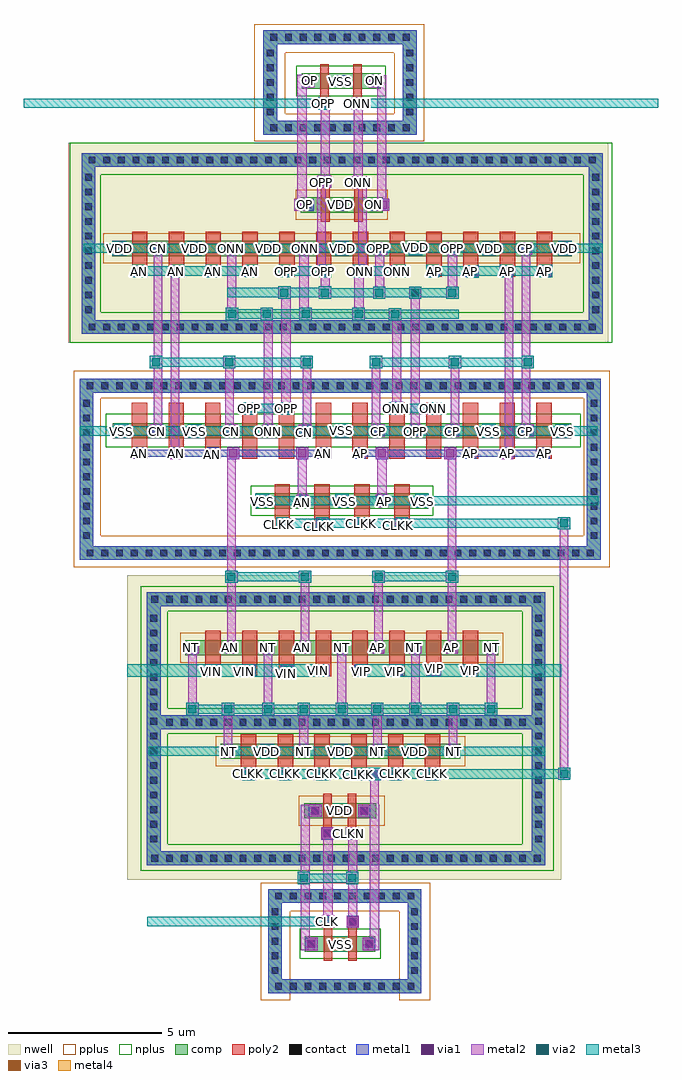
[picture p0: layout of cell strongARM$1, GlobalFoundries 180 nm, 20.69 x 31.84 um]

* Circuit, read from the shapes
.subckt strongARM$1 AN AP CLK CLKK CLKN CN CP NT ON ONN OP OPP VDD VIN VIP VSS
XM1 CN AN VSS VSUBS nfet_03v3 w=0.5u l=0.5u m=4
XM2 ONN OPP CN VSUBS nfet_03v3 w=0.5u l=0.5u m=2
XM3 AN CLKK VSS VSUBS nfet_03v3 w=0.5u l=0.5u m=2
XM4 VSS OPP OP VSUBS nfet_03v3 w=0.5u l=0.28u
XM5 VSS CLK CLKN VSUBS nfet_03v3 w=0.5u l=0.28u
XM6 CLKK CLKN VSS VSUBS nfet_03v3 w=0.5u l=0.28u
XM7 CP AP VSS VSUBS nfet_03v3 w=0.5u l=0.5u m=4
XM8 ON ONN VSS VSUBS nfet_03v3 w=0.5u l=0.28u
XM9 AP CLKK VSS VSUBS nfet_03v3 w=0.5u l=0.5u m=2
XM10 OPP ONN CP VSUBS nfet_03v3 w=0.5u l=0.5u m=2
XM11 CN AN VDD n1 pfet_03v3 w=0.5u l=0.5u m=2
XM12 AN VIN NT n2 pfet_03v3 w=0.5u l=0.5u m=4
XM13 ONN AN VDD n1 pfet_03v3 w=0.5u l=0.5u m=2
XM14 VDD CLKK NT n2 pfet_03v3 w=0.5u l=0.5u m=6
XM15 ONN OPP VDD n1 pfet_03v3 w=0.5u l=0.5u m=2
XM16 VDD OPP OP n1 pfet_03v3 w=0.5u l=0.28u
XM17 VDD CLK CLKN n2 pfet_03v3 w=0.5u l=0.28u
XM18 CLKK CLKN VDD n2 pfet_03v3 w=0.5u l=0.28u
XM19 AP VIP NT n2 pfet_03v3 w=0.5u l=0.5u m=4
XM20 OPP ONN VDD n1 pfet_03v3 w=0.5u l=0.5u m=2
XM21 ON ONN VDD n1 pfet_03v3 w=0.5u l=0.28u
XM22 OPP AP VDD n1 pfet_03v3 w=0.5u l=0.5u m=2
XM23 CP AP VDD n1 pfet_03v3 w=0.5u l=0.5u m=2
.ends

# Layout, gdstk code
from math import pi, radians
import gdstk
lib = gdstk.Library(unit=1e-6, precision=1e-09)
def R(c, l, rs):  # rectangles x0, y0, x1, y1
    for r in rs: c.add(gdstk.rectangle(r[:2], r[2:], *l))
def A(c, l, x, y, w, h, nx, ny, dx, dy):  # array of equal rectangles
    R(c, l, [(x+i*dx, y+j*dy, x+i*dx+w, y+j*dy+h) for i in range(nx) for j in range(ny)])
def P(c, l, *ps):  # polygons
    for p in ps: c.add(gdstk.Polygon(p, *l))
nwell = (21, 0)
comp = (22, 0)
poly2 = (30, 0)
pplus = (31, 0)
nplus = (32, 0)
contact = (33, 0)
metal1 = (34, 0)
via1 = (35, 0)
metal2 = (36, 0)
via2 = (38, 0)
via3 = (40, 0)
metal3 = (42, 0)
metal4 = (46, 0)

via_dev_8_1_1 = lib.new_cell('via_dev$8$1$1')
R(via_dev_8_1_1, metal1, [(0,0,0.45,0.4)])
R(via_dev_8_1_1, via1, [(0.095,0.07,0.355,0.33)])
R(via_dev_8_1_1, metal2, [(0,0,0.45,0.4)])
R(via_dev_8_1_1, via2, [(0.095,0.07,0.355,0.33)])
R(via_dev_8_1_1, via3, [(0.095,0.07,0.355,0.33)])
R(via_dev_8_1_1, metal3, [(0,0,0.45,0.4)])
R(via_dev_8_1_1, metal4, [(0,0,0.45,0.4)])

via_dev_7_1_1 = lib.new_cell('via_dev$7$1$1')
R(via_dev_7_1_1, comp, [(0,0,5,0.45)])
A(via_dev_7_1_1, contact, 0.23, 0.115, 0.22, 0.22, 10, 1, 0.48, 0)
R(via_dev_7_1_1, metal1, [(0,0,5,0.45)])

pfet_1_3 = lib.new_cell('pfet$1$3')
R(pfet_1_3, nwell, [(-1.07,-0.74,2.81,1.62)])
R(pfet_1_3, comp, [(-0.46,0,2.2,0.5)])
P(pfet_1_3, poly2, [(0.19,-0.3),(0.19,0.8),(0.14,0.8),(0.14,1.18),(0.52,1.18),(0.52,0.8),(0.47,0.8),(0.47,-0.3)],
  [(1.27,-0.3),(1.27,0.8),(1.22,0.8),(1.22,1.18),(1.6,1.18),(1.6,0.8),(1.55,0.8),(1.55,-0.3)])
R(pfet_1_3, pplus, [(-0.63,-0.24,2.37,0.74)])
A(pfet_1_3, contact, -0.34, 0.14, 0.22, 0.22, 3, 1, 1.1, 0)
R(pfet_1_3, contact, [(0.22,0.88,0.44,1.1), (1.3,0.88,1.52,1.1)])
A(pfet_1_3, metal1, -0.42, 0.06, 0.38, 0.38, 3, 1, 1.1, 0)
R(pfet_1_3, metal1, [(0.14,0.8,0.52,1.18), (1.22,0.8,1.6,1.18)])

via_dev_25 = lib.new_cell('via_dev$25')
R(via_dev_25, metal1, [(0,0,0.4,0.4)])
R(via_dev_25, via1, [(0.07,0.07,0.33,0.33)])
R(via_dev_25, metal2, [(0,0,0.4,0.4)])

via_dev_15_1_1 = lib.new_cell('via_dev$15$1$1')
R(via_dev_15_1_1, metal2, [(0,0,0.4,0.4)])
R(via_dev_15_1_1, via2, [(0.07,0.07,0.33,0.33)])
R(via_dev_15_1_1, metal3, [(0,0,0.4,0.4)])

via_dev_22_1 = lib.new_cell('via_dev$22$1')
R(via_dev_22_1, metal1, [(0,0,0.45,0.45)])
R(via_dev_22_1, via1, [(0.095,0.095,0.355,0.355)])
R(via_dev_22_1, metal2, [(0,0,0.45,0.45)])
R(via_dev_22_1, via2, [(0.095,0.095,0.355,0.355)])
R(via_dev_22_1, metal3, [(0,0,0.45,0.45)])

via_dev_2_1_1 = lib.new_cell('via_dev$2$1$1')
R(via_dev_2_1_1, comp, [(0,0,17,0.45)])
A(via_dev_2_1_1, contact, 0.23, 0.115, 0.22, 0.22, 35, 1, 0.48, 0)
R(via_dev_2_1_1, metal1, [(0,0,17,0.45)])

via_dev_20_1 = lib.new_cell('via_dev$20$1')
R(via_dev_20_1, comp, [(0,0,12.1,0.45)])
A(via_dev_20_1, contact, 0.18, 0.115, 0.22, 0.22, 25, 1, 0.48, 0)
R(via_dev_20_1, metal1, [(0,0,12.1,0.45)])

via_dev_6_1_1 = lib.new_cell('via_dev$6$1$1')
R(via_dev_6_1_1, comp, [(0,0,0.45,5)])
A(via_dev_6_1_1, contact, 0.115, 0.23, 0.22, 0.22, 1, 10, 0, 0.48)
R(via_dev_6_1_1, metal1, [(0,0,0.45,5)])

via_dev_3_1_1 = lib.new_cell('via_dev$3$1$1')
R(via_dev_3_1_1, comp, [(0,0,13,0.45)])
A(via_dev_3_1_1, contact, 0.15, 0.115, 0.22, 0.22, 27, 1, 0.48, 0)
R(via_dev_3_1_1, metal1, [(0,0,13,0.45)])

nfet_1_2 = lib.new_cell('nfet$1$2')
R(nfet_1_2, comp, [(-0.42,0,5.2,0.5)])
A(nfet_1_2, poly2, 0.19, -0.3, 0.5, 1.46, 4, 1, 1.3, 0)
R(nfet_1_2, nplus, [(-0.59,-0.24,5.37,0.74)])
A(nfet_1_2, contact, -0.32, 0.14, 0.22, 0.22, 5, 1, 1.3, 0)
A(nfet_1_2, contact, 0.33, 0.87, 0.22, 0.22, 4, 1, 1.3, 0)
A(nfet_1_2, metal1, -0.4, 0.06, 0.38, 0.38, 5, 1, 1.3, 0)
A(nfet_1_2, metal1, 0.25, 0.79, 0.38, 0.38, 4, 1, 1.3, 0)

via_dev_14_1 = lib.new_cell('via_dev$14$1')
R(via_dev_14_1, metal1, [(0,0,0.4,0.4)])
R(via_dev_14_1, via1, [(0.07,0.07,0.33,0.33)])
R(via_dev_14_1, metal2, [(0,0,0.4,0.4)])
R(via_dev_14_1, via2, [(0.07,0.07,0.33,0.33)])
R(via_dev_14_1, metal3, [(0,0,0.4,0.4)])

via_dev_16_1_1 = lib.new_cell('via_dev$16$1$1')
R(via_dev_16_1_1, metal1, [(0,0,0.4,0.4)])

via_dev_4_1 = lib.new_cell('via_dev$4$1')
R(via_dev_4_1, comp, [(0,0,0.45,2.5)])
A(via_dev_4_1, contact, 0.115, 0.18, 0.22, 0.22, 1, 5, 0, 0.48)
R(via_dev_4_1, metal1, [(0,0,0.45,2.5)])

via_dev_5_1_1 = lib.new_cell('via_dev$5$1$1')
R(via_dev_5_1_1, comp, [(0,0,0.45,8)])
A(via_dev_5_1_1, contact, 0.115, 0.29, 0.22, 0.22, 1, 16, 0, 0.48)
R(via_dev_5_1_1, metal1, [(0,0,0.45,8)])

strongarm_1 = lib.new_cell('strongARM$1')
R(strongarm_1, nwell, [(-4.36,3.98,9.8,13.91), (-6.29,21.5,11.34,28.02)])
R(strongarm_1, comp, [(1.44,1.64,1.86,2.14), (1.86,1.64,3.32,2.14), (3.32,1.64,3.74,2.14), (1.42,5.985,3.77,6.485), (-1.3,7.925,-0.84,8.425), (-0.84,7.925,6.04,8.425), (6.04,7.925,6.5,8.425), (-2.46,11.3,-2,11.8), (-2,11.3,7.28,11.8), (7.28,11.3,7.74,11.8), (-4.83,18.38,10.13,18.88), (-4.85,24.33,-4.39,24.83), (-4.39,24.33,9.69,24.83), (9.69,24.33,10.15,24.83), (1.33,29.79,1.75,30.29), (1.75,29.79,3.49,30.29), (3.49,29.79,3.91,30.29)])
A(strongarm_1, poly2, -0.65, 7.245, 0.5, 0.38, 6, 1, 1.2, 0)
A(strongarm_1, poly2, -0.65, 7.625, 0.5, 1.1, 6, 1, 1.2, 0)
A(strongarm_1, poly2, -1.81, 10.62, 0.5, 0.38, 8, 1, 1.2, 0)
A(strongarm_1, poly2, -1.81, 11, 0.5, 1.1, 8, 1, 1.2, 0)
A(strongarm_1, poly2, -4.21, 17.72, 0.5, 0.36, 8, 1, 1.2, 0)
A(strongarm_1, poly2, 6.59, 17.72, 0.5, 0.36, 3, 1, 1.2, 0)
A(strongarm_1, poly2, -4.21, 18.08, 0.5, 1.1, 12, 1, 1.2, 0)
A(strongarm_1, poly2, -0.61, 19.18, 0.5, 0.36, 9, 1, 1.2, 0)
A(strongarm_1, poly2, -4.2, 23.65, 0.5, 0.38, 12, 1, 1.2, 0)
A(strongarm_1, poly2, -4.2, 24.03, 0.5, 1.1, 12, 1, 1.2, 0)
R(strongarm_1, poly2, [(2.05,1.34,2.33,2.44), (2.85,1.34,3.13,2.44), (2.01,2.44,2.37,2.8), (2.81,2.44,3.17,2.8), (1.98,5.305,2.36,5.685), (2.78,5.305,3.16,5.685), (2.03,5.685,2.31,6.785), (2.83,5.685,3.11,6.785), (5.39,17.71,5.89,18.08), (-4.21,19.18,-3.71,19.54), (-3.01,19.18,-2.51,19.54), (-1.81,19.18,-1.32,19.54), (1.9,29.13,2.26,29.49), (2.98,29.13,3.34,29.49), (1.94,29.49,2.22,30.59), (3.02,29.49,3.3,30.59)])
R(strongarm_1, pplus, [(-0.01,0.06,0.96,3.89), (4.52,0.06,5.53,3.89), (-0.01,2.95,5.53,3.88), (1.23,5.745,4.04,6.725), (-1.47,7.685,6.67,8.665), (-2.63,11.06,7.91,12.04), (-6.1,14.17,11.39,15.2), (-6.1,14.17,-5.22,20.55), (10.53,14.17,11.39,20.59), (-6.1,19.69,11.39,20.59), (-5.14,24.09,10.42,25.08), (-0.21,28.07,0.8,31.9), (-0.21,28.07,5.33,28.97), (4.36,28.07,5.33,31.9), (-0.21,30.97,5.33,31.9)])
R(strongarm_1, nplus, [(1.27,1.4,3.91,2.38), (-3.91,4.27,9.55,5.14), (-3.91,4.27,-3.04,13.51), (8.53,4.27,9.55,13.51), (-3.91,8.74,9.55,9.58), (-3.91,12.75,9.55,13.56), (-5.06,18.09,10.44,19.18), (-6.23,21.5,-5.23,28.02), (-6.16,21.5,11.47,22.5), (10.51,21.5,11.47,28.02), (-6.16,26.99,11.47,28.02), (1.16,29.55,4.08,30.53)])
A(strongarm_1, contact, 1.54, 1.78, 0.22, 0.22, 3, 1, 0.94, 0)
A(strongarm_1, contact, 1.66, 6.125, 0.22, 0.22, 3, 1, 0.8, 0)
A(strongarm_1, contact, -0.51, 7.325, 0.22, 0.22, 6, 1, 1.2, 0)
A(strongarm_1, contact, 0.09, 8.065, 0.22, 0.22, 5, 1, 1.2, 0)
A(strongarm_1, contact, -1.67, 10.7, 0.22, 0.22, 8, 1, 1.2, 0)
A(strongarm_1, contact, -1.07, 11.44, 0.22, 0.22, 7, 1, 1.2, 0)
A(strongarm_1, contact, -4.07, 17.79, 0.22, 0.22, 3, 1, 1.2, 0)
A(strongarm_1, contact, 6.73, 17.79, 0.22, 0.22, 3, 1, 1.2, 0)
A(strongarm_1, contact, -4.67, 18.52, 0.22, 0.22, 13, 1, 1.2, 0)
A(strongarm_1, contact, -4.06, 23.73, 0.22, 0.22, 12, 1, 1.2, 0)
A(strongarm_1, contact, -3.46, 24.47, 0.22, 0.22, 11, 1, 1.2, 0)
A(strongarm_1, contact, 1.43, 29.93, 0.22, 0.22, 3, 1, 1.08, 0)
R(strongarm_1, contact, [(2.08,2.51,2.3,2.73), (2.88,2.51,3.1,2.73), (2.06,5.385,2.28,5.605), (2.86,5.385,3.08,5.605), (-1.18,8.065,-0.96,8.285), (6.16,8.065,6.38,8.285), (-2.34,11.44,-2.12,11.66), (7.4,11.44,7.62,11.66), (1.93,17.79,2.15,18.01), (3.13,17.79,3.35,18.01), (-0.47,19.25,-0.25,19.47), (0.73,19.25,0.95,19.47), (4.33,19.25,4.55,19.47), (5.53,19.25,5.75,19.47), (-4.73,24.47,-4.51,24.69), (9.81,24.47,10.03,24.69), (1.97,29.2,2.19,29.42), (3.05,29.2,3.27,29.42)])
A(strongarm_1, metal1, 0.61, 7.245, 0.38, 0.38, 5, 1, 1.2, 0)
A(strongarm_1, metal1, 0, 7.975, 0.4, 0.4, 3, 1, 2.4, 0)
A(strongarm_1, metal1, -1.75, 10.62, 0.38, 0.38, 8, 1, 1.2, 0)
A(strongarm_1, metal1, -1.15, 11.36, 0.38, 0.38, 7, 1, 1.2, 0)
A(strongarm_1, metal1, -4.15, 17.71, 0.38, 0.38, 3, 1, 1.2, 0)
A(strongarm_1, metal1, 6.65, 17.71, 0.38, 0.38, 3, 1, 1.2, 0)
A(strongarm_1, metal1, -4.76, 18.43, 0.4, 0.4, 3, 1, 7.2, 0)
A(strongarm_1, metal1, -1.15, 18.44, 0.38, 0.38, 3, 1, 1.2, 0)
A(strongarm_1, metal1, 3.65, 18.44, 0.38, 0.38, 3, 1, 1.2, 0)
A(strongarm_1, metal1, -4.14, 23.65, 0.38, 0.38, 11, 1, 1.2, 0)
A(strongarm_1, metal1, -2.35, 24.38, 0.4, 0.4, 3, 1, 2.4, 0)
A(strongarm_1, metal1, -3.54, 24.39, 0.38, 0.38, 4, 1, 2.4, 0)
A(strongarm_1, metal1, 1.35, 29.85, 0.38, 0.38, 3, 1, 1.08, 0)
R(strongarm_1, metal1, [(3.33,1.69,3.73,2.09), (1.46,1.7,1.84,2.08), (2.8,2.41,3.2,2.81), (1.99,2.42,2.39,2.82), (2,2.43,2.38,2.81), (2.8,2.43,3.18,2.81), (1.97,5.295,2.37,5.695), (1.57,6.035,1.97,6.435), (3.18,6.045,3.56,6.425), (3.01,7.23,3.91,7.63), (-1.26,7.985,-0.88,8.365), (1.21,7.985,1.59,8.365), (3.61,7.985,3.99,8.365), (6.08,7.985,6.46,8.365), (-2.42,11.36,-2.04,11.74), (7.32,11.36,7.7,11.74), (1.85,17.71,2.23,18.09), (3.05,17.71,3.43,18.09), (-3.55,18.44,-3.17,18.82), (8.45,18.44,8.83,18.82), (-0.55,19.17,-0.17,19.55), (0.65,19.17,1.03,19.55), (5.45,19.17,5.83,19.55), (9.12,23.65,9.5,24.03), (-4.82,24.38,-4.42,24.78), (6.05,24.38,6.45,24.78), (7.25,24.38,7.65,24.78), (4.86,24.39,5.24,24.77), (8.46,24.39,8.84,24.77), (1.88,29.11,2.28,29.51), (1.89,29.12,2.27,29.5), (2.97,29.12,3.35,29.5), (3.5,29.84,3.9,30.24)])
P(strongarm_1, metal1, [(0.73,29.3),(0.73,29.3),(0.73,29.3),(0.73,29.3)])
A(strongarm_1, via1, -1.09, 11.42, 0.26, 0.26, 4, 1, 2.4, 0)
R(strongarm_1, via1, [(2.87,2.48,3.13,2.74), (2.06,2.49,2.32,2.75), (1.95,29.18,2.21,29.44), (3.57,29.91,3.83,30.17)])
A(strongarm_1, metal2, -1.15, 11.36, 0.38, 0.38, 4, 1, 2.4, 0)
R(strongarm_1, metal2, [(2.8,2.41,3.2,2.81), (1.99,2.42,2.39,2.82), (3,7.23,3.91,7.63), (1.88,29.11,2.28,29.51), (3.5,29.84,3.9,30.24)])
R(strongarm_1, via2, [(1.95,29.18,2.21,29.44)])
R(strongarm_1, metal3, [(3,7.23,3.91,7.63), (1.88,29.11,2.28,29.51)])
strongarm_1.add(gdstk.FlexPath([(9.43,17.9),(3.05,17.9)], 0.23, ends="flush", simple_path=True, layer=34, datatype=0))  # metal1
strongarm_1.add(gdstk.FlexPath([(-4.15,17.9),(2.23,17.9)], 0.23, ends="flush", simple_path=True, layer=34, datatype=0))  # metal1
strongarm_1.add(gdstk.FlexPath([(2.19,10.81),(-4.36,10.81)], 0.4, ends="flush", simple_path=True, layer=42, datatype=0))  # metal3
strongarm_1.add(gdstk.FlexPath([(3.09,10.81),(9.8,10.81)], 0.4, ends="flush", simple_path=True, layer=42, datatype=0))  # metal3
strongarm_1.add(gdstk.FlexPath([(3.16,4.03),(1.2,4.03)], 0.3, ends="flush", simple_path=True, layer=42, datatype=0))  # metal3
strongarm_1.add(gdstk.FlexPath([(3.64,20.87),(8.84,20.87)], 0.3, ends="flush", simple_path=True, layer=42, datatype=0))  # metal3
strongarm_1.add(gdstk.FlexPath([(1.64,20.87),(-3.56,20.87)], 0.3, ends="flush", simple_path=True, layer=42, datatype=0))  # metal3
strongarm_1.add(gdstk.FlexPath([(5.89,19.36),(4.18,19.36)], 0.3, ends="flush", simple_path=True, layer=42, datatype=0))  # metal3
strongarm_1.add(gdstk.FlexPath([(1.07,19.36),(-0.59,19.36)], 0.3, ends="flush", simple_path=True, layer=42, datatype=0))  # metal3
strongarm_1.add(gdstk.FlexPath([(2.3,23.84),(0.6,23.84)], 0.3, ends="flush", simple_path=True, layer=42, datatype=0))  # metal3
strongarm_1.add(gdstk.FlexPath([(4.7,23.84),(3,23.84)], 0.3, ends="flush", simple_path=True, layer=42, datatype=0))  # metal3
strongarm_1.add(gdstk.FlexPath([(5.4,23.84),(9.44,23.84)], 0.3, ends="flush", simple_path=True, layer=42, datatype=0))  # metal3
strongarm_1.add(gdstk.FlexPath([(-0.16,23.84),(-4.08,23.84)], 0.3, ends="flush", simple_path=True, layer=42, datatype=0))  # metal3
strongarm_1.add(gdstk.FlexPath([(6.38,23.13),(1.89,23.13)], 0.3, ends="flush", simple_path=True, layer=42, datatype=0))  # metal3
strongarm_1.add(gdstk.FlexPath([(-1.14,22.44),(3.39,22.44)], 0.3, ends="flush", simple_path=True, layer=42, datatype=0))  # metal3
strongarm_1.add(gdstk.FlexPath([(0.335,8.175),(-3.65,8.175)], 0.3, ends="flush", simple_path=True, layer=42, datatype=0))  # metal3
strongarm_1.add(gdstk.FlexPath([(11,16.345),(-0.18,16.345)], 0.3, ends="flush", simple_path=True, layer=42, datatype=0))  # metal3
strongarm_1.add(gdstk.FlexPath([(6.45,22.43),(3.06,22.43)], 0.3, ends="flush", simple_path=True, layer=42, datatype=0))  # metal3
strongarm_1.add(gdstk.FlexPath([(-1.1,23.14),(2.29,23.14)], 0.3, ends="flush", simple_path=True, layer=42, datatype=0))  # metal3
strongarm_1.add(gdstk.FlexPath([(7.64,9.55),(-2.43,9.55)], 0.3, ends="flush", simple_path=True, layer=42, datatype=0))  # metal3
strongarm_1.add(gdstk.FlexPath([(2.39,2.62),(-3.71,2.62)], 0.3, ends="flush", simple_path=True, layer=42, datatype=0))  # metal3
strongarm_1.add(gdstk.FlexPath([(2.27,29.31),(-7.73,29.31)], 0.3, ends="flush", simple_path=True, layer=42, datatype=0))  # metal3
strongarm_1.add(gdstk.FlexPath([(2.96,29.31),(12.96,29.31)], 0.3, ends="flush", simple_path=True, layer=42, datatype=0))  # metal3
strongarm_1.add(gdstk.FlexPath([(3.64,13.87),(6.44,13.87)], 0.3, ends="flush", simple_path=True, layer=42, datatype=0))  # metal3
strongarm_1.add(gdstk.FlexPath([(1.64,13.87),(-1.16,13.87)], 0.3, ends="flush", simple_path=True, layer=42, datatype=0))  # metal3
strongarm_1.add(gdstk.FlexPath([(0.51,15.61),(10.09,15.61)], 0.3, ends="flush", simple_path=True, layer=42, datatype=0))  # metal3
strongarm_1.add(gdstk.FlexPath([(-0.6,7.43),(10.1,7.43)], 0.3, ends="flush", simple_path=True, layer=42, datatype=0))  # metal3
strongarm_1.add(gdstk.FlexPath([(11.15,24.585),(-5.77,24.585)], 0.3, ends="flush", simple_path=True, layer=42, datatype=0))  # metal3
strongarm_1.add(gdstk.FlexPath([(10.975,18.625),(-5.91,18.625)], 0.3, ends="flush", simple_path=True, layer=42, datatype=0))  # metal3
strongarm_1.add(gdstk.FlexPath([(9.28,8.175),(-0.02,8.175)], 0.3, ends="flush", simple_path=True, layer=42, datatype=0))  # metal3
strongarm_1.add(gdstk.FlexPath([(3.71,1.69),(3.71,6.425)], 0.3, ends="flush", simple_path=True, layer=36, datatype=0))  # metal2
strongarm_1.add(gdstk.FlexPath([(1.45,1.69),(1.45,6.43)], 0.3, ends="flush", simple_path=True, layer=36, datatype=0))  # metal2
strongarm_1.add(gdstk.FlexPath([(3,2.41),(3,5.685)], 0.3, ends="flush", simple_path=True, layer=36, datatype=0))  # metal2
strongarm_1.add(gdstk.FlexPath([(2.19,2.43),(2.19,5.695)], 0.3, ends="flush", simple_path=True, layer=36, datatype=0))  # metal2
strongarm_1.add(gdstk.FlexPath([(-3.36,18.43),(-3.36,21.07)], 0.28, ends="flush", simple_path=True, layer=36, datatype=0))  # metal2
strongarm_1.add(gdstk.FlexPath([(3.18,26.55),(3.18,29.5)], 0.3, ends="flush", simple_path=True, layer=36, datatype=0))  # metal2
strongarm_1.add(gdstk.FlexPath([(2.1,26.55),(2.1,29.49)], 0.3, ends="flush", simple_path=True, layer=36, datatype=0))  # metal2
strongarm_1.add(gdstk.FlexPath([(3.94,25.8),(3.94,30.23)], 0.3, ends="flush", simple_path=True, layer=36, datatype=0))  # metal2
strongarm_1.add(gdstk.FlexPath([(1.34,25.8),(1.34,30.24)], 0.3, ends="flush", simple_path=True, layer=36, datatype=0))  # metal2
strongarm_1.add(gdstk.FlexPath([(-3.36,20.4),(-3.36,24.7)], 0.28, ends="flush", simple_path=True, layer=36, datatype=0))  # metal2
strongarm_1.add(gdstk.FlexPath([(-2.8,18.16),(-2.8,24.04)], 0.28, ends="flush", simple_path=True, layer=36, datatype=0))  # metal2
strongarm_1.add(gdstk.FlexPath([(8.09,23.99),(8.09,17.7)], 0.28, ends="flush", simple_path=True, layer=36, datatype=0))  # metal2
strongarm_1.add(gdstk.FlexPath([(8.65,24.78),(8.65,18.43)], 0.28, ends="flush", simple_path=True, layer=36, datatype=0))  # metal2
strongarm_1.add(gdstk.FlexPath([(-2.8,18.25),(-2.8,17.71)], 0.28, ends="flush", simple_path=True, layer=36, datatype=0))  # metal2
strongarm_1.add(gdstk.FlexPath([(1.35,16.15),(1.35,18.03)], 0.3, ends="flush", simple_path=True, layer=36, datatype=0))  # metal2
strongarm_1.add(gdstk.FlexPath([(3.95,16.15),(3.95,18.03)], 0.3, ends="flush", simple_path=True, layer=36, datatype=0))  # metal2
strongarm_1.add(gdstk.FlexPath([(4.43,22.63),(4.43,19.17)], 0.3, ends="flush", simple_path=True, layer=36, datatype=0))  # metal2
strongarm_1.add(gdstk.FlexPath([(5.04,18.44),(5.04,23.28)], 0.3, ends="flush", simple_path=True, layer=36, datatype=0))  # metal2
strongarm_1.add(gdstk.FlexPath([(0.24,18.44),(0.24,22.59)], 0.3, ends="flush", simple_path=True, layer=36, datatype=0))  # metal2
strongarm_1.add(gdstk.FlexPath([(6.25,24.78),(6.25,23)], 0.3, ends="flush", simple_path=True, layer=36, datatype=0))  # metal2
strongarm_1.add(gdstk.FlexPath([(2.1,24.04),(2.1,22.94)], 0.3, ends="flush", simple_path=True, layer=36, datatype=0))  # metal2
strongarm_1.add(gdstk.FlexPath([(-0.95,24.78),(-0.95,22.24)], 0.3, ends="flush", simple_path=True, layer=36, datatype=0))  # metal2
strongarm_1.add(gdstk.FlexPath([(3.2,24.04),(3.2,22.31)], 0.3, ends="flush", simple_path=True, layer=36, datatype=0))  # metal2
strongarm_1.add(gdstk.FlexPath([(6.33,18.43),(6.33,21.07)], 0.28, ends="flush", simple_path=True, layer=36, datatype=0))  # metal2
strongarm_1.add(gdstk.FlexPath([(3.76,18.44),(3.76,21.07)], 0.28, ends="flush", simple_path=True, layer=36, datatype=0))  # metal2
strongarm_1.add(gdstk.FlexPath([(1.5,18.44),(1.5,21.07)], 0.28, ends="flush", simple_path=True, layer=36, datatype=0))  # metal2
strongarm_1.add(gdstk.FlexPath([(-1.02,18.44),(-1.02,21.07)], 0.28, ends="flush", simple_path=True, layer=36, datatype=0))  # metal2
strongarm_1.add(gdstk.FlexPath([(0.82,23.28),(0.82,19.18)], 0.3, ends="flush", simple_path=True, layer=36, datatype=0))  # metal2
strongarm_1.add(gdstk.FlexPath([(3.88,24.78),(3.88,22.93)], 0.3, ends="flush", simple_path=True, layer=36, datatype=0))  # metal2
strongarm_1.add(gdstk.FlexPath([(1.41,24.72),(1.41,22.26)], 0.3, ends="flush", simple_path=True, layer=36, datatype=0))  # metal2
strongarm_1.add(gdstk.FlexPath([(3.31,26.93),(3.31,23.69)], 0.28, ends="flush", simple_path=True, layer=36, datatype=0))  # metal2
strongarm_1.add(gdstk.FlexPath([(1.98,26.95),(1.98,23.73)], 0.28, ends="flush", simple_path=True, layer=36, datatype=0))  # metal2
strongarm_1.add(gdstk.FlexPath([(6.27,7.985),(6.27,9.7)], 0.28, ends="flush", simple_path=True, layer=36, datatype=0))  # metal2
strongarm_1.add(gdstk.FlexPath([(3.8,7.985),(3.8,9.7)], 0.28, ends="flush", simple_path=True, layer=36, datatype=0))  # metal2
strongarm_1.add(gdstk.FlexPath([(1.4,7.985),(1.4,9.7)], 0.28, ends="flush", simple_path=True, layer=36, datatype=0))  # metal2
strongarm_1.add(gdstk.FlexPath([(-1.07,7.97),(-1.07,9.7)], 0.28, ends="flush", simple_path=True, layer=36, datatype=0))  # metal2
strongarm_1.add(gdstk.FlexPath([(-0.96,18.08),(-0.96,14.02)], 0.28, ends="flush", simple_path=True, layer=36, datatype=0))  # metal2
strongarm_1.add(gdstk.FlexPath([(6.24,18.08),(6.24,13.67)], 0.28, ends="flush", simple_path=True, layer=36, datatype=0))  # metal2
strongarm_1.add(gdstk.FlexPath([(6.24,11.36),(6.24,14.02)], 0.28, ends="flush", simple_path=True, layer=36, datatype=0))  # metal2
strongarm_1.add(gdstk.FlexPath([(3.84,11.36),(3.84,14.02)], 0.28, ends="flush", simple_path=True, layer=36, datatype=0))  # metal2
strongarm_1.add(gdstk.FlexPath([(1.44,11.36),(1.44,14.02)], 0.28, ends="flush", simple_path=True, layer=36, datatype=0))  # metal2
strongarm_1.add(gdstk.FlexPath([(-0.96,11.42),(-0.96,14.02)], 0.28, ends="flush", simple_path=True, layer=36, datatype=0))  # metal2
strongarm_1.add(gdstk.FlexPath([(7.51,11.75),(7.51,9.35)], 0.28, ends="flush", simple_path=True, layer=36, datatype=0))  # metal2
strongarm_1.add(gdstk.FlexPath([(5.04,11.74),(5.04,9.4)], 0.28, ends="flush", simple_path=True, layer=36, datatype=0))  # metal2
strongarm_1.add(gdstk.FlexPath([(2.64,11.74),(2.64,9.4)], 0.28, ends="flush", simple_path=True, layer=36, datatype=0))  # metal2
strongarm_1.add(gdstk.FlexPath([(0.24,11.74),(0.24,9.4)], 0.28, ends="flush", simple_path=True, layer=36, datatype=0))  # metal2
strongarm_1.add(gdstk.FlexPath([(-2.23,11.74),(-2.23,9.35)], 0.28, ends="flush", simple_path=True, layer=36, datatype=0))  # metal2
strongarm_1.add(gdstk.FlexPath([(3.71,6.09),(3.71,7.62)], 0.28, ends="flush", simple_path=True, layer=36, datatype=0))  # metal2
strongarm_1.add(gdstk.FlexPath([(9.89,15.8),(9.89,7.25)], 0.28, ends="flush", simple_path=True, layer=36, datatype=0))  # metal2
strongarm_1.add(gdstk.Reference(via_dev_8_1_1, (2.35,6.03)))
strongarm_1.add(gdstk.Reference(via_dev_8_1_1, (2.37,1.69)))
strongarm_1.add(gdstk.Reference(via_dev_7_1_1, (5.08,31.24), rotation=pi, x_reflection=True))
strongarm_1.add(gdstk.Reference(pfet_1_3, (3.51,25.75), rotation=pi, x_reflection=True))
strongarm_1.add(gdstk.Reference(via_dev_25, (2.84,11.75), rotation=pi))
strongarm_1.add(gdstk.Reference(via_dev_15_1_1, (2.44,9.35)))
strongarm_1.add(gdstk.Reference(via_dev_22_1, (2.42,24.36)))
strongarm_1.add(gdstk.Reference(via_dev_2_1_1, (-5.85,27.24)))
strongarm_1.add(gdstk.Reference(via_dev_2_1_1, (-5.85,21.79)))
strongarm_1.add(gdstk.Reference(via_dev_20_1, (-3.27,8.9)))
strongarm_1.add(gdstk.Reference(via_dev_6_1_1, (10.64,14.87)))
strongarm_1.add(gdstk.Reference(via_dev_22_1, (2.38,7.95)))
strongarm_1.add(gdstk.Reference(via_dev_22_1, (2.87,16.12), rotation=pi, x_reflection=True))
strongarm_1.add(gdstk.Reference(via_dev_22_1, (2.41,18.41)))
strongarm_1.add(gdstk.Reference(via_dev_7_1_1, (5.08,28.29), rotation=pi, x_reflection=True))
strongarm_1.add(gdstk.Reference(via_dev_7_1_1, (0.24,0.28)))
strongarm_1.add(gdstk.Reference(via_dev_7_1_1, (0.24,3.23)))
strongarm_1.add(gdstk.Reference(via_dev_2_1_1, (-5.91,19.87)))
strongarm_1.add(gdstk.Reference(via_dev_6_1_1, (10.64,14.87)))
strongarm_1.add(gdstk.Reference(via_dev_6_1_1, (-5.91,14.87)))
strongarm_1.add(gdstk.Reference(via_dev_2_1_1, (-5.91,14.42)))
strongarm_1.add(gdstk.Reference(via_dev_3_1_1, (-3.72,4.46)))
strongarm_1.add(gdstk.Reference(via_dev_3_1_1, (-3.72,12.91)))
strongarm_1.add(gdstk.Reference(nfet_1_2, (0.26,16.59), x_reflection=True))
strongarm_1.add(gdstk.Reference(via_dev_22_1, (9.7,24.36)))
strongarm_1.add(gdstk.Reference(via_dev_25, (8.45,24.78), x_reflection=True))
strongarm_1.add(gdstk.Reference(via_dev_25, (3.79,25.8)))
strongarm_1.add(gdstk.Reference(via_dev_14_1, (4.32,23.64)))
strongarm_1.add(gdstk.Reference(via_dev_14_1, (3,23.64)))
strongarm_1.add(gdstk.Reference(via_dev_25, (2.98,26.54)))
strongarm_1.add(gdstk.Reference(via_dev_25, (8.51,18.43)))
strongarm_1.add(gdstk.Reference(via_dev_6_1_1, (10.7,22.24)))
strongarm_1.add(gdstk.Reference(via_dev_16_1_1, (4.25,19.17)))
strongarm_1.add(gdstk.Reference(via_dev_25, (4.15,16.14), rotation=pi, x_reflection=True))
strongarm_1.add(gdstk.Reference(via_dev_22_1, (9.61,18.4)))
strongarm_1.add(gdstk.Reference(via_dev_4_1, (5.08,28.74), rotation=pi, x_reflection=True))
strongarm_1.add(gdstk.Reference(via_dev_22_1, (5.48,16.12), rotation=pi, x_reflection=True))
strongarm_1.add(gdstk.Reference(via_dev_15_1_1, (8.51,20.67)))
strongarm_1.add(gdstk.Reference(via_dev_15_1_1, (6.53,21.07), rotation=pi))
strongarm_1.add(gdstk.Reference(via_dev_15_1_1, (3.96,21.07), rotation=pi))
strongarm_1.add(gdstk.Reference(via_dev_25, (4.84,18.43)))
strongarm_1.add(gdstk.Reference(via_dev_25, (6.44,18.83), rotation=pi))
strongarm_1.add(gdstk.Reference(via_dev_25, (4.04,18.83), rotation=pi))
strongarm_1.add(gdstk.Reference(via_dev_22_1, (7.22,18.41)))
strongarm_1.add(gdstk.Reference(via_dev_25, (5.98,17.7)))
strongarm_1.add(gdstk.Reference(via_dev_15_1_1, (2.99,22.24)))
strongarm_1.add(gdstk.Reference(via_dev_25, (7.84,17.7)))
strongarm_1.add(gdstk.Reference(via_dev_15_1_1, (4.18,22.23)))
strongarm_1.add(gdstk.Reference(via_dev_14_1, (4.84,22.93)))
strongarm_1.add(gdstk.Reference(via_dev_14_1, (9.1,23.64)))
strongarm_1.add(gdstk.Reference(via_dev_14_1, (7.8,23.64)))
strongarm_1.add(gdstk.Reference(via_dev_14_1, (6.71,23.63)))
strongarm_1.add(gdstk.Reference(via_dev_14_1, (5.4,23.64)))
strongarm_1.add(gdstk.Reference(via_dev_25, (3.73,24.38)))
strongarm_1.add(gdstk.Reference(via_dev_25, (6.05,24.38)))
strongarm_1.add(gdstk.Reference(via_dev_15_1_1, (3.66,22.93)))
strongarm_1.add(gdstk.Reference(via_dev_15_1_1, (6.05,22.93)))
strongarm_1.add(gdstk.Reference(via_dev_14_1, (5.49,19.16)))
strongarm_1.add(gdstk.Reference(via_dev_14_1, (4.18,19.16)))
strongarm_1.add(gdstk.Reference(via_dev_25, (2.96,29.11)))
strongarm_1.add(gdstk.Reference(via_dev_25, (3.75,17.7)))
strongarm_1.add(gdstk.Reference(via_dev_22_1, (4.82,24.35)))
strongarm_1.add(gdstk.Reference(via_dev_22_1, (7.22,24.35)))
strongarm_1.add(gdstk.Reference(via_dev_25, (1.55,16.14), rotation=pi, x_reflection=True))
strongarm_1.add(gdstk.Reference(via_dev_6_1_1, (-5.85,22.24)))
strongarm_1.add(gdstk.Reference(via_dev_25, (-1.15,24.38)))
strongarm_1.add(gdstk.Reference(via_dev_15_1_1, (1.89,22.94)))
strongarm_1.add(gdstk.Reference(via_dev_15_1_1, (-1.14,22.24)))
strongarm_1.add(gdstk.Reference(via_dev_4_1, (0.53,28.74), rotation=pi, x_reflection=True))
strongarm_1.add(gdstk.Reference(via_dev_25, (1.09,25.8)))
strongarm_1.add(gdstk.Reference(via_dev_22_1, (-4.78,18.41)))
strongarm_1.add(gdstk.Reference(via_dev_22_1, (-2.38,18.4)))
strongarm_1.add(gdstk.Reference(via_dev_15_1_1, (1.7,21.07), rotation=pi))
strongarm_1.add(gdstk.Reference(via_dev_25, (-3.62,18.43)))
strongarm_1.add(gdstk.Reference(via_dev_25, (1.34,29.84)))
strongarm_1.add(gdstk.Reference(via_dev_15_1_1, (-0.83,21.07), rotation=pi))
strongarm_1.add(gdstk.Reference(via_dev_25, (1.15,17.7)))
strongarm_1.add(gdstk.Reference(via_dev_14_1, (0.67,19.16)))
strongarm_1.add(gdstk.Reference(via_dev_22_1, (0.03,24.35)))
strongarm_1.add(gdstk.Reference(via_dev_25, (-3.55,24.77), x_reflection=True))
strongarm_1.add(gdstk.Reference(via_dev_14_1, (-0.59,19.16)))
strongarm_1.add(gdstk.Reference(via_dev_22_1, (-2.38,24.35)))
strongarm_1.add(gdstk.Reference(via_dev_25, (-1.1,17.7)))
strongarm_1.add(gdstk.Reference(via_dev_25, (1.64,18.83), rotation=pi))
strongarm_1.add(gdstk.Reference(via_dev_25, (1.9,26.55)))
strongarm_1.add(gdstk.Reference(via_dev_15_1_1, (-3.22,21.07), rotation=pi))
strongarm_1.add(gdstk.Reference(via_dev_14_1, (1.9,23.64)))
strongarm_1.add(gdstk.Reference(via_dev_25, (-2.96,17.7)))
strongarm_1.add(gdstk.Reference(via_dev_15_1_1, (0.57,22.94)))
strongarm_1.add(gdstk.Reference(via_dev_14_1, (0.58,23.64)))
strongarm_1.add(gdstk.Reference(via_dev_15_1_1, (-0.01,22.24)))
strongarm_1.add(gdstk.Reference(via_dev_25, (0.04,18.43)))
strongarm_1.add(gdstk.Reference(via_dev_15_1_1, (1.26,22.24)))
strongarm_1.add(gdstk.Reference(via_dev_25, (1.16,24.38)))
strongarm_1.add(gdstk.Reference(via_dev_14_1, (-2.9,23.64)))
strongarm_1.add(gdstk.Reference(via_dev_14_1, (-4.2,23.64)))
strongarm_1.add(gdstk.Reference(via_dev_14_1, (-0.5,23.64)))
strongarm_1.add(gdstk.Reference(via_dev_14_1, (-1.8,23.64)))
strongarm_1.add(gdstk.Reference(via_dev_25, (-0.76,18.83), rotation=pi))
strongarm_1.add(gdstk.Reference(via_dev_22_1, (-4.84,24.36)))
strongarm_1.add(gdstk.Reference(via_dev_22_1, (0.27,16.12), rotation=pi, x_reflection=True))
strongarm_1.add(gdstk.Reference(via_dev_25, (0.44,11.75), rotation=pi))
strongarm_1.add(gdstk.Reference(via_dev_15_1_1, (1.2,9.35)))
strongarm_1.add(gdstk.Reference(via_dev_15_1_1, (-1.27,9.35)))
strongarm_1.add(gdstk.Reference(via_dev_15_1_1, (0.04,9.35)))
strongarm_1.add(gdstk.Reference(via_dev_15_1_1, (-2.43,9.35)))
strongarm_1.add(gdstk.Reference(via_dev_15_1_1, (1.64,14.07), rotation=pi))
strongarm_1.add(gdstk.Reference(via_dev_15_1_1, (-0.76,14.07), rotation=pi))
strongarm_1.add(gdstk.Reference(via_dev_25, (1.6,8.38), rotation=pi))
strongarm_1.add(gdstk.Reference(via_dev_25, (-0.87,8.37), rotation=pi))
strongarm_1.add(gdstk.Reference(via_dev_15_1_1, (1.2,3.84)))
strongarm_1.add(gdstk.Reference(via_dev_25, (1.45,1.69)))
strongarm_1.add(gdstk.Reference(via_dev_25, (1.97,5.3)))
strongarm_1.add(gdstk.Reference(via_dev_5_1_1, (-3.72,4.91)))
strongarm_1.add(gdstk.Reference(via_dev_14_1, (2.2,15.81), rotation=pi))
strongarm_1.add(gdstk.Reference(via_dev_14_1, (0.9,15.81), rotation=pi))
strongarm_1.add(gdstk.Reference(via_dev_14_1, (2.2,7.63), rotation=pi))
strongarm_1.add(gdstk.Reference(via_dev_14_1, (1,7.63), rotation=pi))
strongarm_1.add(gdstk.Reference(via_dev_14_1, (-0.2,7.63), rotation=pi))
strongarm_1.add(gdstk.Reference(via_dev_25, (1.58,6.04)))
strongarm_1.add(gdstk.Reference(via_dev_22_1, (-0.02,7.95)))
strongarm_1.add(gdstk.Reference(via_dev_4_1, (0.24,0.73)))
strongarm_1.add(gdstk.Reference(via_dev_25, (1.97,5.3)))
strongarm_1.add(gdstk.Reference(via_dev_16_1_1, (-0.6,7.24)))
strongarm_1.add(gdstk.Reference(via_dev_14_1, (-1.35,11.01), rotation=pi))
strongarm_1.add(gdstk.Reference(via_dev_14_1, (2.19,11.01), rotation=pi))
strongarm_1.add(gdstk.Reference(via_dev_14_1, (-0.21,11.01), rotation=pi))
strongarm_1.add(gdstk.Reference(via_dev_14_1, (1.09,11.01), rotation=pi))
strongarm_1.add(gdstk.Reference(via_dev_25, (-2.43,11.35)))
strongarm_1.add(gdstk.Reference(via_dev_25, (4.84,11.35)))
strongarm_1.add(gdstk.Reference(via_dev_25, (2.77,5.29)))
strongarm_1.add(gdstk.Reference(via_dev_25, (7.71,11.75), rotation=pi))
strongarm_1.add(gdstk.Reference(via_dev_14_1, (6.99,11.02), rotation=pi))
strongarm_1.add(gdstk.Reference(via_dev_14_1, (5.89,11.01), rotation=pi))
strongarm_1.add(gdstk.Reference(via_dev_15_1_1, (2.78,3.84)))
strongarm_1.add(gdstk.Reference(via_dev_15_1_1, (6.07,9.35)))
strongarm_1.add(gdstk.Reference(via_dev_15_1_1, (3.6,9.35)))
strongarm_1.add(gdstk.Reference(via_dev_25, (3.33,1.69)))
strongarm_1.add(gdstk.Reference(via_dev_15_1_1, (4.84,9.35)))
strongarm_1.add(gdstk.Reference(via_dev_25, (3.17,6.03)))
strongarm_1.add(gdstk.Reference(via_dev_22_1, (4.78,7.95)))
strongarm_1.add(gdstk.Reference(via_dev_15_1_1, (7.31,9.35)))
strongarm_1.add(gdstk.Reference(via_dev_4_1, (4.79,0.73)))
strongarm_1.add(gdstk.Reference(via_dev_15_1_1, (9.7,7.24)))
strongarm_1.add(gdstk.Reference(via_dev_15_1_1, (9.69,15.41)))
strongarm_1.add(gdstk.Reference(via_dev_5_1_1, (8.83,4.91)))
strongarm_1.add(gdstk.Reference(via_dev_15_1_1, (4.04,14.07), rotation=pi))
strongarm_1.add(gdstk.Reference(via_dev_14_1, (3.5,15.81), rotation=pi))
strongarm_1.add(gdstk.Reference(via_dev_25, (3.52,7.23)))
strongarm_1.add(gdstk.Reference(via_dev_14_1, (4.8,15.81), rotation=pi))
strongarm_1.add(gdstk.Reference(via_dev_14_1, (5.8,7.63), rotation=pi))
strongarm_1.add(gdstk.Reference(via_dev_14_1, (4.6,7.63), rotation=pi))
strongarm_1.add(gdstk.Reference(via_dev_14_1, (3.4,7.63), rotation=pi))
strongarm_1.add(gdstk.Reference(via_dev_25, (6.47,8.38), rotation=pi))
strongarm_1.add(gdstk.Reference(via_dev_25, (4,8.38), rotation=pi))
strongarm_1.add(gdstk.Reference(via_dev_15_1_1, (6.44,14.07), rotation=pi))
strongarm_1.add(gdstk.Reference(via_dev_14_1, (3.49,11.01), rotation=pi))
strongarm_1.add(gdstk.Reference(via_dev_14_1, (4.59,11.01), rotation=pi))
strongarm_1.add(gdstk.Label('CLKN', (2.86,5.495), layer=34, texttype=0))
strongarm_1.add(gdstk.Label('CP', (3.84,18.62), layer=34, texttype=10))
strongarm_1.add(gdstk.Label('CP', (6.24,18.62), layer=34, texttype=10))
strongarm_1.add(gdstk.Label('CP', (8.64,18.62), layer=34, texttype=10))
strongarm_1.add(gdstk.Label('OPP', (5.04,18.62), layer=34, texttype=10))
strongarm_1.add(gdstk.Label('VSS', (7.44,18.62), layer=34, texttype=10))
strongarm_1.add(gdstk.Label('VSS', (9.84,18.62), layer=34, texttype=10))
strongarm_1.add(gdstk.Label('AP', (3.24,17.89), layer=34, texttype=10))
strongarm_1.add(gdstk.Label('AP', (6.84,17.89), layer=34, texttype=10))
strongarm_1.add(gdstk.Label('AP', (8.04,17.89), layer=34, texttype=10))
strongarm_1.add(gdstk.Label('AP', (9.24,17.89), layer=34, texttype=10))
strongarm_1.add(gdstk.Label('ONN', (4.44,19.35), layer=34, texttype=10))
strongarm_1.add(gdstk.Label('ONN', (5.64,19.35), layer=34, texttype=10))
strongarm_1.add(gdstk.Label('VSS', (2.74,16.33), layer=34, texttype=10))
strongarm_1.add(gdstk.Label('AP', (4.02,16.31), layer=34, texttype=10))
strongarm_1.add(gdstk.Label('VSS', (5.28,16.32), layer=34, texttype=10))
strongarm_1.add(gdstk.Label('ON', (3.69,26), layer=34, texttype=10))
strongarm_1.add(gdstk.Label('ONN', (3.18,26.74), layer=34, texttype=10))
strongarm_1.add(gdstk.Label('ONN', (4.45,23.84), layer=34, texttype=10))
strongarm_1.add(gdstk.Label('ONN', (3.25,23.84), layer=34, texttype=10))
strongarm_1.add(gdstk.Label('CP', (8.65,24.58), layer=34, texttype=10))
strongarm_1.add(gdstk.Label('OPP', (6.25,24.58), layer=34, texttype=10))
strongarm_1.add(gdstk.Label('OPP', (3.85,24.58), layer=34, texttype=10))
strongarm_1.add(gdstk.Label('VDD', (9.92,24.58), layer=34, texttype=10))
strongarm_1.add(gdstk.Label('VDD', (7.45,24.58), layer=34, texttype=10))
strongarm_1.add(gdstk.Label('VDD', (5.05,24.61), layer=34, texttype=10))
strongarm_1.add(gdstk.Label('AP', (9.25,23.84), layer=34, texttype=10))
strongarm_1.add(gdstk.Label('AP', (8.05,23.84), layer=34, texttype=10))
strongarm_1.add(gdstk.Label('AP', (6.85,23.84), layer=34, texttype=10))
strongarm_1.add(gdstk.Label('AP', (5.65,23.84), layer=34, texttype=10))
strongarm_1.add(gdstk.Label('ON', (3.72,30.05), layer=34, texttype=10))
strongarm_1.add(gdstk.Label('ONN', (3.14,29.32), layer=34, texttype=10))
strongarm_1.add(gdstk.Label('OPP', (2.06,29.32), layer=34, texttype=10))
strongarm_1.add(gdstk.Label('VSS', (2.6,30.03), layer=34, texttype=10))
strongarm_1.add(gdstk.Label('OP', (1.59,30.05), layer=34, texttype=10))
strongarm_1.add(gdstk.Label('AN', (-2.76,17.89), layer=34, texttype=10))
strongarm_1.add(gdstk.Label('AN', (-3.96,17.89), layer=34, texttype=10))
strongarm_1.add(gdstk.Label('VSS', (-4.56,18.62), layer=34, texttype=10))
strongarm_1.add(gdstk.Label('AN', (2.04,17.89), layer=34, texttype=10))
strongarm_1.add(gdstk.Label('CN', (-0.96,18.59), layer=34, texttype=10))
strongarm_1.add(gdstk.Label('CN', (1.44,18.57), layer=34, texttype=10))
strongarm_1.add(gdstk.Label('OPP', (-0.36,19.35), layer=34, texttype=10))
strongarm_1.add(gdstk.Label('OPP', (0.84,19.35), layer=34, texttype=10))
strongarm_1.add(gdstk.Label('ONN', (0.24,18.62), layer=34, texttype=10))
strongarm_1.add(gdstk.Label('VSS', (-2.16,18.62), layer=34, texttype=10))
strongarm_1.add(gdstk.Label('CN', (-3.36,18.62), layer=34, texttype=10))
strongarm_1.add(gdstk.Label('AN', (-1.58,17.85), layer=34, texttype=10))
strongarm_1.add(gdstk.Label('OPP', (0.85,23.84), layer=34, texttype=10))
strongarm_1.add(gdstk.Label('OPP', (2.05,23.84), layer=34, texttype=10))
strongarm_1.add(gdstk.Label('CN', (-3.35,24.58), layer=34, texttype=10))
strongarm_1.add(gdstk.Label('OPP', (1.97,26.74), layer=34, texttype=10))
strongarm_1.add(gdstk.Label('VDD', (2.6,26), layer=34, texttype=10))
strongarm_1.add(gdstk.Label('OP', (1.41,26), layer=34, texttype=10))
strongarm_1.add(gdstk.Label('AN', (-3.95,23.84), layer=34, texttype=10))
strongarm_1.add(gdstk.Label('VDD', (-4.62,24.58), layer=34, texttype=10))
strongarm_1.add(gdstk.Label('ONN', (-0.95,24.58), layer=34, texttype=10))
strongarm_1.add(gdstk.Label('ONN', (1.45,24.58), layer=34, texttype=10))
strongarm_1.add(gdstk.Label('VDD', (-2.15,24.58), layer=34, texttype=10))
strongarm_1.add(gdstk.Label('VDD', (0.25,24.58), layer=34, texttype=10))
strongarm_1.add(gdstk.Label('VSS', (2.635,18.635), layer=34, texttype=10))
strongarm_1.add(gdstk.Label('VDD', (2.65,24.58), layer=34, texttype=10))
strongarm_1.add(gdstk.Label('AN', (-2.75,23.84), layer=34, texttype=10))
strongarm_1.add(gdstk.Label('VSS', (0.07,16.31), layer=34, texttype=10))
strongarm_1.add(gdstk.Label('AN', (1.37,16.3), layer=34, texttype=10))
strongarm_1.add(gdstk.Label('AN', (-1.55,23.84), layer=34, texttype=10))
strongarm_1.add(gdstk.Label('AN', (-0.35,23.84), layer=34, texttype=10))
strongarm_1.add(gdstk.Label('CLKK', (0.8,7.435), layer=34, texttype=10))
strongarm_1.add(gdstk.Label('CLKK', (-0.4,7.44), layer=34, texttype=10))
strongarm_1.add(gdstk.Label('CLKK', (0.6,15.58), layer=34, texttype=10))
strongarm_1.add(gdstk.Label('CLKK', (1.91,15.5), layer=34, texttype=10))
strongarm_1.add(gdstk.Label('VIN', (1.89,10.81), layer=34, texttype=10))
strongarm_1.add(gdstk.Label('AN', (1.35,11.565), layer=34, texttype=10))
strongarm_1.add(gdstk.Label('VIN', (-0.54,10.79), layer=34, texttype=10))
strongarm_1.add(gdstk.Label('VIN', (-1.61,10.79), layer=34, texttype=10))
strongarm_1.add(gdstk.Label('NT', (2.62,11.565), layer=34, texttype=10))
strongarm_1.add(gdstk.Label('NT', (0.22,11.565), layer=34, texttype=10))
strongarm_1.add(gdstk.Label('AN', (-1,11.565), layer=34, texttype=10))
strongarm_1.add(gdstk.Label('NT', (-2.31,11.565), layer=34, texttype=10))
strongarm_1.add(gdstk.Label('VIN', (0.84,10.72), layer=34, texttype=10))
strongarm_1.add(gdstk.Label('VSS', (2.59,1.88), layer=34, texttype=10))
strongarm_1.add(gdstk.Label('CLK', (2.19,2.61), layer=34, texttype=10))
strongarm_1.add(gdstk.Label('CLKN', (1.65,1.88), layer=34, texttype=10))
strongarm_1.add(gdstk.Label('VDD', (2.57,6.23), layer=34, texttype=10))
strongarm_1.add(gdstk.Label('VDD', (2.57,6.23), layer=34, texttype=10))
strongarm_1.add(gdstk.Label('CLK', (2.17,5.49), layer=34, texttype=10))
strongarm_1.add(gdstk.Label('CLKN', (1.77,6.23), layer=34, texttype=10))
strongarm_1.add(gdstk.Label('VDD', (2.6,8.18), layer=34, texttype=10))
strongarm_1.add(gdstk.Label('VDD', (0.2,8.18), layer=34, texttype=10))
strongarm_1.add(gdstk.Label('NT', (1.4,8.18), layer=34, texttype=10))
strongarm_1.add(gdstk.Label('NT', (-1.07,8.18), layer=34, texttype=10))
strongarm_1.add(gdstk.Label('CLKK', (2,7.44), layer=34, texttype=10))
strongarm_1.add(gdstk.Label('NT', (7.51,11.565), layer=34, texttype=10))
strongarm_1.add(gdstk.Label('NT', (4.99,11.565), layer=34, texttype=10))
strongarm_1.add(gdstk.Label('VIP', (5.66,10.88), layer=34, texttype=10))
strongarm_1.add(gdstk.Label('AP', (6.22,11.565), layer=34, texttype=10))
strongarm_1.add(gdstk.Label('CLKN', (2.99,2.61), layer=34, texttype=10))
strongarm_1.add(gdstk.Label('VDD', (5,8.18), layer=34, texttype=10))
strongarm_1.add(gdstk.Label('NT', (6.27,8.18), layer=34, texttype=10))
strongarm_1.add(gdstk.Label('NT', (3.8,8.18), layer=34, texttype=10))
strongarm_1.add(gdstk.Label('CLKK', (3.37,6.23), layer=34, texttype=10))
strongarm_1.add(gdstk.Label('CLKK', (5.6,7.435), layer=34, texttype=10))
strongarm_1.add(gdstk.Label('CLKK', (4.4,7.435), layer=34, texttype=10))
strongarm_1.add(gdstk.Label('CLKK', (3.18,7.43), layer=34, texttype=10))
strongarm_1.add(gdstk.Label('CLKK', (3.49,1.86), layer=34, texttype=10))
strongarm_1.add(gdstk.Label('CLKK', (4.5,15.53), layer=34, texttype=10))
strongarm_1.add(gdstk.Label('CLKK', (3.29,15.61), layer=34, texttype=10))
strongarm_1.add(gdstk.Label('VIP', (3.28,10.78), layer=34, texttype=10))
strongarm_1.add(gdstk.Label('VIP', (4.36,10.77), layer=34, texttype=10))
strongarm_1.add(gdstk.Label('AP', (3.81,11.56), layer=34, texttype=10))
strongarm_1.add(gdstk.Label('VIP', (6.84,10.81), layer=34, texttype=10))

lib.write_gds('strongARM_1.gds')
